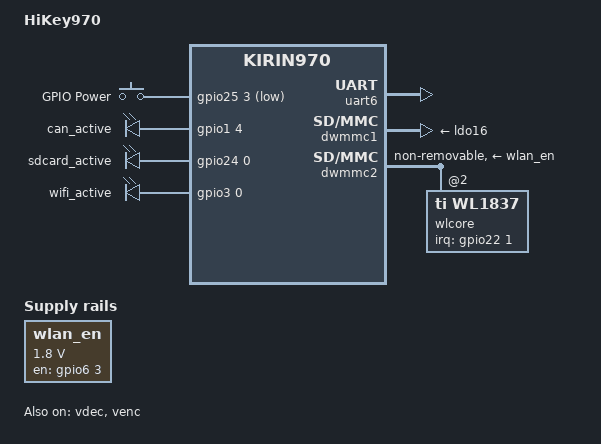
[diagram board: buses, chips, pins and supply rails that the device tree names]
// SPDX-License-Identifier: GPL-2.0
/*
 * dts file for Hisilicon HiKey970 Development Board
 *
 * Copyright (C) 2016, Hisilicon Ltd.
 *
 */

/dts-v1/;

#include "kirin970.dtsi"
#include <dt-bindings/gpio/gpio.h>
#include <dt-bindings/input/input.h>
#include "kirin970_spmi.dtsi"
#include "hisi_6421v600_pmic_spmi.dtsi"

#include "kirin970-ion.dtsi"
#include "kirin970-coresight.dtsi"
/ {
	model = "HiKey970";
	compatible = "Hisilicon,kirin970-hikey970", "Hisilicon,kirin970";

	aliases {
		mshc1 = &dwmmc1;
		mshc2 = &dwmmc2;
		serial0 = &uart0; /* UDP console UART */
		serial1 = &uart1;
		serial2 = &uart2;
		serial3 = &uart3;
		serial4 = &uart4;
		serial5 = &uart5;
		serial6 = &uart6;
	};

	chosen {
		stdout-path = "serial6:115200n8";
	};

	memory@0 {
		device_type = "memory";
		/* rewrite this at bootloader */
		reg = <0x0 0x0 0x0 0x0>;
	};

	reserved-memory {
		#address-cells = <2>;
		#size-cells = <2>;
		ranges;

		bl31 {
			reg = <0x0 0x1FE00000 0x0 0x400000>;
			no-map;
		};

		ramoops_ram:pstore-mem{
			reg = <0x0 0x20A00000 0x0 0x100000>;
			no-map;
		};

		uefi-reboot-mode {
			reg = <0x0 0x32100000 0x0 0x00001000>;
			no-map;
		};

		hifi-base {
			reg = <0x0 0x8D500000 0x0 0xC00000>;
			no-map;
		};

		lpmx-core {
			reg = <0x0 0x8E100000 0x0 0x100000>;
			no-map;
		};

		lpmcu {
			reg = <0x0 0x8E200000 0x0 0x40000>;
			no-map;
		};

		hifi-data {
			reg = <0x0 0x8E300000 0x0 0x500000>;
			no-map;
		};
	};

	reboot-mode-syscon@32100000 {
		compatible = "syscon", "simple-mfd";
		reg = <0x0 0x32100000 0x0 0x00001000>;

		reboot-mode {
			compatible = "syscon-reboot-mode";
			offset = <0x0>;

			mode-normal	= <0x77665501>;
			mode-bootloader	= <0x77665500>;
			mode-recovery	= <0x77665502>;
		};
	};
	pclk: apb_pclk {
			compatible = "fixed-clock";
			#clock-cells = <0>;
			clock-frequency = <20000000>;
			clock-output-names = "apb_pclk";
	};

	keys: gpio-keys {
		compatible = "gpio-keys";
		pinctrl-names = "default";
		pinctrl-0 = <&pwr_key_pmx_func &pwr_key_cfg_func>;

		power {
			wakeup-source;
			gpios = <&gpio25 3 GPIO_ACTIVE_LOW>;
			label = "GPIO Power";
			linux,code = <KEY_POWER>;
		};
	};

	leds {
		compatible = "gpio-leds";
		can_active_led {
			label = "can_active";
			/* GPIO_012_USER_LED5*/
			gpios = <&gpio1 4 0>;
			linux,default-trigger = "can0-rxtx";
			default-state = "off";
		};
	};

	soc {
		uart6: serial@fff32000 {
			status = "okay";
		};
	};

		hifidsp {
				compatible = "hisilicon,k3hifidsp";
		};

	leds {
		compatible = "gpio-leds";

		sdcard_active_led {
			label = "sdcard_active";
			/* gpio_192_user_led2 */
			gpios = <&gpio24 0 0>;
			linux,default-trigger = "mmc0";
		};

		wlan_active_led {
			label = "wifi_active";
			/* gpio_024_wifi_active */
			gpios = <&gpio3 0 0>;
			linux,default-trigger = "phy0tx";
			default-state = "off";
		};
	};

	vdec {
		compatible = "hisi,kirin970-vdec";
		reg = <0x0 0xe8800000 0x0 0x40000>;
		interrupts = <0 290 4>, <0 291 4>, <0 292 4>;
		clocks = <&media2_crg KIRIN970_CLK_GATE_VDECFREQ>;
		clock-names = "clk_gate_vdecfreq";
		/*clocks = <&clk_gate_vdec>;*/
		/*clock-names = "clk_vdec";*/
		dec_clk_rate = <450000000>, <300000000>, <185000000>;
		vdec_fpga = <0x1>;
		status = "ok";
		iommu_info {
			start-addr = <0x40000>;
			size = <0xE0000000>;
		};
	};

	venc {
		compatible = "hisi,kirin970-venc";
		reg = <0x0 0xe8880000 0x0 0x40000>;
		interrupts = <0 296 4>, <0 297 4>, <0 298 4>;
		clocks = <&media2_crg KIRIN970_CLK_GATE_VENCFREQ>;
		clock-names = "clk_gate_vencfreq";
		/*clocks = <&clk_gate_venc &venc_volt_hold>;*/
		/*clock-names = "clk_venc", "venc_volt_hold";*/
		enc_clk_rate = <554000000>, <450000000>, <238000000>;
		venc_fpga = <0x1>;
		status = "ok";
		iommu_info {
			start-addr = <0x40000>;
			size = <0xE0000000>;
		};
	};

	smmu_lpae{
		compatible = "hisi,hisi-smmu-lpae";
		status = "ok";
	};

	wlan_en: wlan-en-1-8v {
		compatible = "regulator-fixed";
		regulator-name = "wlan-en-regulator";
		regulator-min-microvolt = <1800000>;
		regulator-max-microvolt = <1800000>;

		/* GPIO_051_WIFI_EN */
		gpio = <&gpio6 3 0>;
		regulator-always-on;

		/* WLAN card specific delay */
		startup-delay-us = <70000>;
		enable-active-high;
	};
};

&dwmmc1 {
	vmmc-supply = <&ldo16>;
	vqmmc-supply = <&ldo9>;
	status = "okay";
};

&dwmmc2 { /* WIFI */
	broken-cd;
	/* WL_EN */
	vmmc-supply = <&wlan_en>;
	ti,non-removable;
	non-removable;
	#address-cells = <0x1>;
	#size-cells = <0x0>;
	status = "ok";

	wlcore: wlcore@2 {
		compatible = "ti,wl1837";
		reg = <2>;      /* sdio func num */
		/* WL_IRQ, GPIO_177_WL_WAKEUP_AP */
		interrupt-parent = <&gpio22>;
		interrupts = <1 IRQ_TYPE_EDGE_RISING>;
	};
};
